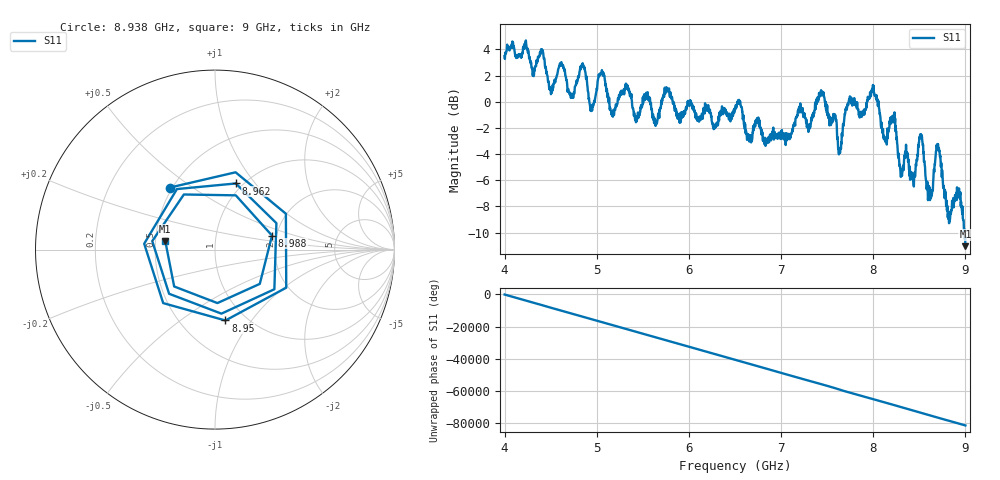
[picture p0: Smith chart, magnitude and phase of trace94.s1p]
! Created with skrf 1.8.0 (http://scikit-rf.org).
# Hz S RI R 50.0
!freq ReS11 ImS11
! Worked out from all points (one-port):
!   1601 points, 4 GHz to 9 GHz, reference 50 ohm
!   lowest |S11| = -11.0 dB at 9 GHz (marker M1), VSWR 1.78, Z = 28.2 + j2.87 ohm
!   |S11| at or under -10 dB: 8.990526 GHz to end of sweep
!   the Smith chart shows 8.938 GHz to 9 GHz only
!   S11 on the Smith chart (normalised r, x): 8.938 GHz: 0.48, +0.41; 8.95 GHz: 0.81, -0.76; 8.962 GHz: 0.93, +0.80; 8.988 GHz: 1.89, +0.33; 9 GHz: 0.56, +0.06
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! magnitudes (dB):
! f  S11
! 4 GHz  3.5
! 4.406 GHz  4.0
! 4.506 GHz  0.7
! 4.625 GHz  2.8
! 4.728 GHz  0.3
! 4.853 GHz  2.8
! 4.944 GHz  -0.4
! 5.047 GHz  2.2
! 5.162 GHz  -0.7
! 5.25 GHz  0.6
! 5.875 GHz  -0.9
! 6.5 GHz  -0.5
! 7.125 GHz  -2.3
! 7.438 GHz  0.5
! 7.641 GHz  -3.9
! 7.75 GHz  0.1
! 8.003 GHz  1.2
! 8.375 GHz  -4.0
! 8.434 GHz  -5.9
! 8.519 GHz  -2.5
! 8.619 GHz  -7.1
! 8.703 GHz  -3.2
! 8.816 GHz  -9.0
! 8.938 GHz  -7.4
! 8.95 GHz  -8.0
! 8.962 GHz  -8.3
! 8.988 GHz  -9.7
! 9 GHz  -11.0
